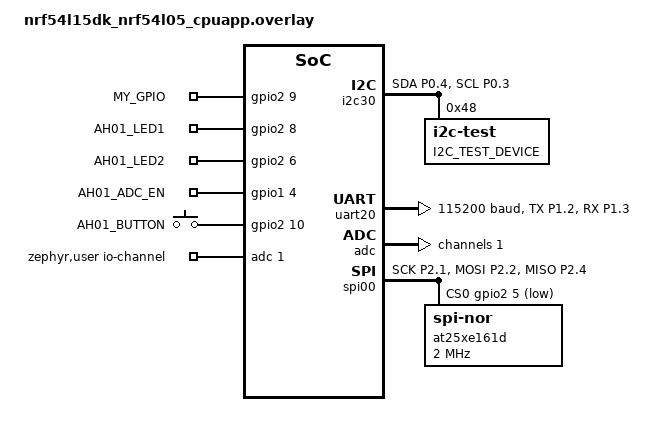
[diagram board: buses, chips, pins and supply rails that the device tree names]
// To get started, press Ctrl+Space to bring up the completion menu and view the available nodes.

// You can also use the buttons in the sidebar to perform actions on nodes.
// Actions currently available include:

// * Enabling / disabling the node
// * Adding the bus to a bus
// * Removing the node
// * Connecting ADC channels

// For more help, browse the DeviceTree documentation at https://docs.zephyrproject.org/latest/guides/dts/index.html
// You can also visit the nRF DeviceTree extension documentation at https://docs.nordicsemi.com/bundle/nrf-connect-vscode/page/guides/ncs_configure_app.html#devicetree-support-in-the-extension

/ {
	// Simple GPIO on pin P2.09 (existing LED) and additional GPIOs
	my_gpio: my_gpio {
		compatible = "gpio-keys";

		// Original LED on P2.09
		my_gpio_pin: my_gpio_pin {
			gpios = <&gpio2 9 GPIO_ACTIVE_HIGH>;
			label = "MY_GPIO";
		};

		// Additional LEDs on P2.08 and P2.06
		ah01_led1_pin: ah01_led1_pin {
			gpios = <&gpio2 8 GPIO_ACTIVE_HIGH>;
			label = "AH01_LED1";
		};

		ah01_led2_pin: ah01_led2_pin {
			gpios = <&gpio2 6 GPIO_ACTIVE_HIGH>;
			label = "AH01_LED2";
		};

		ah01_adc_en_pin: ah01_adc_en_pin {
			gpios = <&gpio1 4 GPIO_ACTIVE_HIGH>;
			label = "AH01_ADC_EN";
		};

		// Button on P2.10
		ah01_button_pin: ah01_button_pin {
			/* Assuming active-low button with pull-up */
			gpios = <&gpio2 10 (GPIO_ACTIVE_HIGH)>;
			label = "AH01_BUTTON";
		};
	};

    	zephyr,user {
		io-channels = <&adc 1>;
	};
};

// I2C configuration on pins P0.03 (SCL) and P0.04 (SDA)
&i2c30 {
	status = "okay";
	pinctrl-0 = <&i2c0_custom>;
	pinctrl-1 = <&i2c0_custom_sleep>;
	pinctrl-names = "default", "sleep";
	// Test I2C device
	i2c_test_device: test_device@48 {
		compatible = "zephyr,i2c-test";
		reg = <0x48>;
		label = "I2C_TEST_DEVICE";
	};
};



&uart20 {
	status = "okay";
	current-speed = <115200>;
	pinctrl-0 = <&uart20_custom>;
	pinctrl-1 = <&uart20_custom_sleep>;
	pinctrl-names = "default", "sleep";
};

// Custom pinctrl for I2C pins P0.03 (SCL) and P0.04 (SDA)
&pinctrl {
	i2c0_custom: i2c0_custom {
		group1 {
			psels = <NRF_PSEL(TWIM_SDA, 0, 4)>,  // P0.04 SDA
			       <NRF_PSEL(TWIM_SCL, 0, 3)>;   // P0.03 SCL
			bias-pull-up;  // Enable internal pull-ups
		};
	};

	i2c0_custom_sleep: i2c0_custom_sleep {
		group1 {
			psels = <NRF_PSEL(TWIM_SDA, 0, 4)>,  // P0.04 SDA
			       <NRF_PSEL(TWIM_SCL, 0, 3)>;   // P0.03 SCL
			low-power-enable;
		};
	};

	uart20_custom: uart20_custom {
		group1 {
			psels = <NRF_PSEL(UART_TX, 1, 2)>,  // P1.02 TX
			       <NRF_PSEL(UART_RX, 1, 3)>;   // P1.03 RX
		};
	};

	uart20_custom_sleep: uart20_custom_sleep {
		group1 {
			psels = <NRF_PSEL(UART_TX, 1, 2)>,  // P1.02 TX
			       <NRF_PSEL(UART_RX, 1, 3)>;   // P1.03 RX
			low-power-enable;
		};
	};
};

&uicr {
	nfct-pins-as-gpios;
};


&adc {
	#address-cells = <1>;
	#size-cells = <0>;
	status = "okay";
	channel@1 {
		reg = <1>;
		zephyr,gain = "ADC_GAIN_2_7";
		zephyr,reference = "ADC_REF_INTERNAL";
		zephyr,acquisition-time = <ADC_ACQ_TIME_DEFAULT>;
		zephyr,input-positive = <NRF_SAADC_AIN1>; /* P1.06 */
		zephyr,resolution = <12>;
		zephyr,oversampling = <8>;
	};
};

// SPI configuration for AT25XE161D flash on custom pins
// CS: P2.05, CLK: P2.01, MISO: P2.04, MOSI: P2.02
// Using SPI00 (not SPI30, which conflicts with I2C30)
&spi00 {
	status = "okay";
	pinctrl-0 = <&spi00_custom>;
	pinctrl-1 = <&spi00_custom_sleep>;
	pinctrl-names = "default", "sleep";
	cs-gpios = <&gpio2 5 GPIO_ACTIVE_LOW>;

	at25xe161d: at25xe161d@0 {
		compatible = "jedec,spi-nor";
		reg = <0>;
		spi-max-frequency = <2000000>;
		jedec-id = [1f 46 0c];
		size = <DT_SIZE_M(2)>;
	};
};

&pinctrl {
	spi00_custom: spi00_custom {

      group2 {
         psels = <NRF_PSEL(SPIM_SCK, 2, 1)>;
         nordic,drive-mode = <NRF_DRIVE_S0S1>;
      };

      group3 {
         psels = <NRF_PSEL(SPIM_MOSI, 2, 2)>;
         nordic,drive-mode = <NRF_DRIVE_S0S1>;
      };

      group1 {
         psels = <NRF_PSEL(SPIM_MISO, 2, 4)>;
         nordic,drive-mode = <NRF_DRIVE_S0S1>;
      };
	};

	spi00_custom_sleep: spi00_custom_sleep {
		group1 {
			psels = <NRF_PSEL(SPIM_SCK, 2, 1)>,
			        <NRF_PSEL(SPIM_MISO, 2, 4)>,
			        <NRF_PSEL(SPIM_MOSI, 2, 2)>;
			low-power-enable;
		};
	};
};

